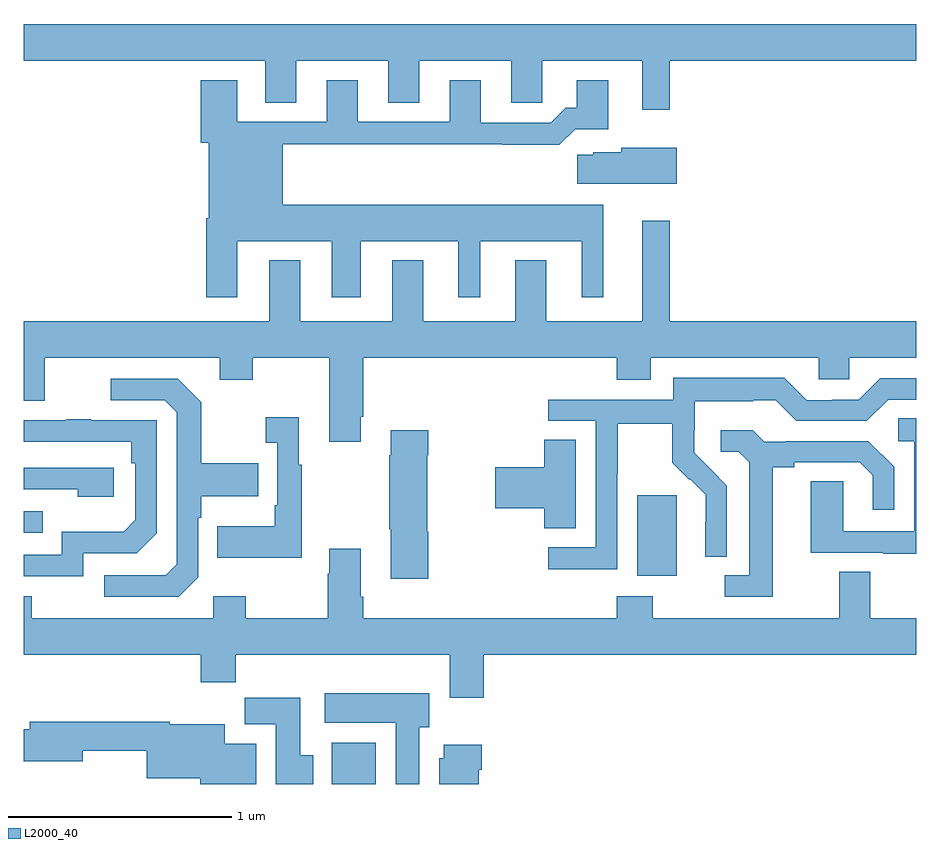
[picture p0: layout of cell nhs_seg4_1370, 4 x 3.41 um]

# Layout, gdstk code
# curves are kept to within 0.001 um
import gdstk
lib = gdstk.Library(unit=1e-6, precision=1e-09)
def R(c, l, rs):  # rectangles x0, y0, x1, y1
    for r in rs: c.add(gdstk.rectangle(r[:2], r[2:], *l))
def P(c, l, *ps):  # polygons
    for p in ps: c.add(gdstk.Polygon(p, *l))
L2000_40 = (2000, 40)

nhs_seg4_1370 = lib.new_cell('nhs_seg4_1370')
R(nhs_seg4_1370, L2000_40, [(182.381,802.9,182.578,803.086), (183.749,803.834,183.928,804.195), (181,804.027,181.085,804.123)])
P(nhs_seg4_1370, L2000_40, [(183.895,806.144),(185,806.144),(185,806.308),(181,806.308),(181,806.144),(182.081,806.144),(182.081,805.954),(182.221,805.954),(182.221,806.144),(182.633,806.144),(182.633,805.954),(182.773,805.954),(182.773,806.144),(183.185,806.144),(183.185,805.954),(183.324,805.954),(183.324,806.144),(183.773,806.144),(183.773,805.923),(183.895,805.923)],
  [(181.957,805.334),(182.381,805.334),(182.381,805.083),(182.509,805.083),(182.509,805.334),(182.948,805.334),(182.948,805.083),(183.046,805.083),(183.046,805.334),(183.5,805.334),(183.5,805.083),(183.598,805.083),(183.598,805.498),(182.161,805.498),(182.161,805.768),(183.145,805.768),(183.145,805.766),(183.401,805.766),(183.471,805.836),(183.619,805.836),(183.619,806.056),(183.479,806.056),(183.479,805.933),(183.43,805.933),(183.363,805.866),(183.049,805.866),(183.049,806.056),(182.909,806.056),(182.909,805.869),(182.497,805.869),(182.497,806.056),(182.357,806.056),(182.357,805.869),(181.957,805.869),(181.957,806.056),(181.793,806.056),(181.793,805.776),(181.829,805.776),(181.829,805.438),(181.817,805.438),(181.817,805.083),(181.957,805.083)],
  [(183.928,805.753),(183.678,805.753),(183.678,805.732),(183.552,805.732),(183.552,805.721),(183.48,805.721),(183.48,805.592),(183.928,805.592)],
  [(183.659,804.713),(183.811,804.713),(183.811,804.812),(184.563,804.812),(184.563,804.714),(184.701,804.714),(184.701,804.812),(185,804.812),(185,804.976),(183.895,804.976),(183.895,805.426),(183.773,805.426),(183.773,804.976),(183.343,804.976),(183.343,805.249),(183.203,805.249),(183.203,804.976),(182.791,804.976),(182.791,805.249),(182.651,805.249),(182.651,804.976),(182.239,804.976),(182.239,805.249),(182.099,805.249),(182.099,804.976),(181,804.976),(181,804.618),(181.093,804.618),(181.093,804.812),(181.877,804.812),(181.877,804.713),(182.025,804.713),(182.025,804.812),(182.369,804.812),(182.369,804.435),(182.509,804.435),(182.509,804.547),(182.522,804.547),(182.522,804.812),(183.659,804.812)],
  [(183.66,804.292),(183.663,804.292),(183.663,804.516),(183.907,804.516),(183.907,804.341),(183.984,804.264),(183.987,804.267),(184.058,804.197),(184.058,804.074),(184.056,804.074),(184.056,803.92),(184.152,803.92),(184.152,804.238),(184.006,804.386),(184.006,804.483),(184.008,804.483),(184.008,804.617),(184.271,804.617),(184.271,804.621),(184.371,804.621),(184.464,804.528),(184.779,804.528),(184.875,804.624),(185,804.624),(185,804.72),(184.839,804.72),(184.743,804.624),(184.625,804.624),(184.625,804.621),(184.509,804.621),(184.409,804.721),(183.912,804.721),(183.912,804.624),(183.351,804.624),(183.351,804.528),(183.564,804.528),(183.564,803.961),(183.351,803.961),(183.351,803.863),(183.66,803.863)],
  [(181.782,803.826),(181.782,804.095),(181.795,804.095),(181.795,804.191),(182.051,804.191),(182.051,804.339),(181.795,804.339),(181.795,804.611),(181.689,804.717),(181.389,804.717),(181.389,804.621),(181.632,804.621),(181.686,804.567),(181.686,803.886),(181.635,803.835),(181.359,803.835),(181.359,803.739),(181.695,803.739)],
  [(182.245,804.331),(182.233,804.331),(182.233,804.544),(182.085,804.544),(182.085,804.431),(182.136,804.431),(182.136,804.151),(182.124,804.151),(182.124,804.055),(181.867,804.055),(181.867,803.915),(182.245,803.915)],
  [(185,804.539),(184.92,804.539),(184.92,804.438),(184.992,804.438),(184.992,804.033),(184.674,804.033),(184.674,804.257),(184.529,804.257),(184.529,803.937),(184.853,803.937),(184.853,803.933),(185,803.933)],
  [(181.266,803.934),(181.506,803.934),(181.596,804.024),(181.596,804.531),(181.301,804.531),(181.301,804.536),(181.189,804.536),(181.189,804.531),(181,804.531),(181,804.435),(181.48,804.435),(181.48,804.338),(181.5,804.338),(181.5,804.084),(181.447,804.031),(181.17,804.031),(181.17,803.928),(181,803.928),(181,803.832),(181.266,803.832)],
  [(184.357,804.32),(184.453,804.32),(184.453,804.342),(184.748,804.342),(184.805,804.285),(184.805,804.129),(184.902,804.129),(184.902,804.322),(184.786,804.438),(184.414,804.438),(184.414,804.435),(184.32,804.435),(184.268,804.487),(184.125,804.487),(184.125,804.39),(184.206,804.39),(184.253,804.343),(184.253,803.835),(184.143,803.835),(184.143,803.739),(184.357,803.739)],
  [(182.813,804.032),(182.808,804.032),(182.808,804.374),(182.813,804.374),(182.813,804.487),(182.645,804.487),(182.645,804.374),(182.638,804.374),(182.638,804.043),(182.645,804.043),(182.645,803.82),(182.813,803.82)],
  [(183.475,804.443),(183.332,804.443),(183.332,804.32),(183.114,804.32),(183.114,804.137),(183.332,804.137),(183.332,804.046),(183.475,804.046)],
  [(181.402,804.318),(181,804.318),(181,804.222),(181.241,804.222),(181.241,804.188),(181.402,804.188)],
  [(183.062,803.48),(185,803.48),(185,803.644),(184.795,803.644),(184.795,803.852),(184.655,803.852),(184.655,803.644),(183.819,803.644),(183.819,803.743),(183.659,803.743),(183.659,803.644),(182.522,803.644),(182.522,803.74),(182.509,803.74),(182.509,803.956),(182.369,803.956),(182.369,803.843),(182.362,803.843),(182.362,803.644),(181.995,803.644),(181.995,803.743),(181.848,803.743),(181.848,803.644),(181.035,803.644),(181.035,803.743),(181,803.743),(181,803.48),(181.793,803.48),(181.793,803.356),(181.949,803.356),(181.949,803.48),(182.909,803.48),(182.909,803.286),(183.062,803.286)],
  [(182.773,803.154),(182.818,803.154),(182.818,803.308),(182.349,803.308),(182.349,803.174),(182.666,803.174),(182.666,802.9),(182.773,802.9)],
  [(182.296,803.028),(182.239,803.028),(182.239,803.287),(181.99,803.287),(181.99,803.168),(182.129,803.168),(182.129,802.9),(182.296,802.9)],
  [(182.041,803.08),(181.9,803.08),(181.9,803.167),(181.654,803.167),(181.654,803.179),(181.025,803.179),(181.025,803.145),(181,803.145),(181,803.003),(181.264,803.003),(181.264,803.05),(181.55,803.05),(181.55,802.925),(181.79,802.925),(181.79,802.9),(182.041,802.9)],
  [(183.04,802.964),(183.053,802.964),(183.053,803.077),(182.882,803.077),(182.882,803.016),(182.861,803.016),(182.861,802.9),(183.04,802.9)])

lib.write_gds('nhs_seg4_1370.gds')
